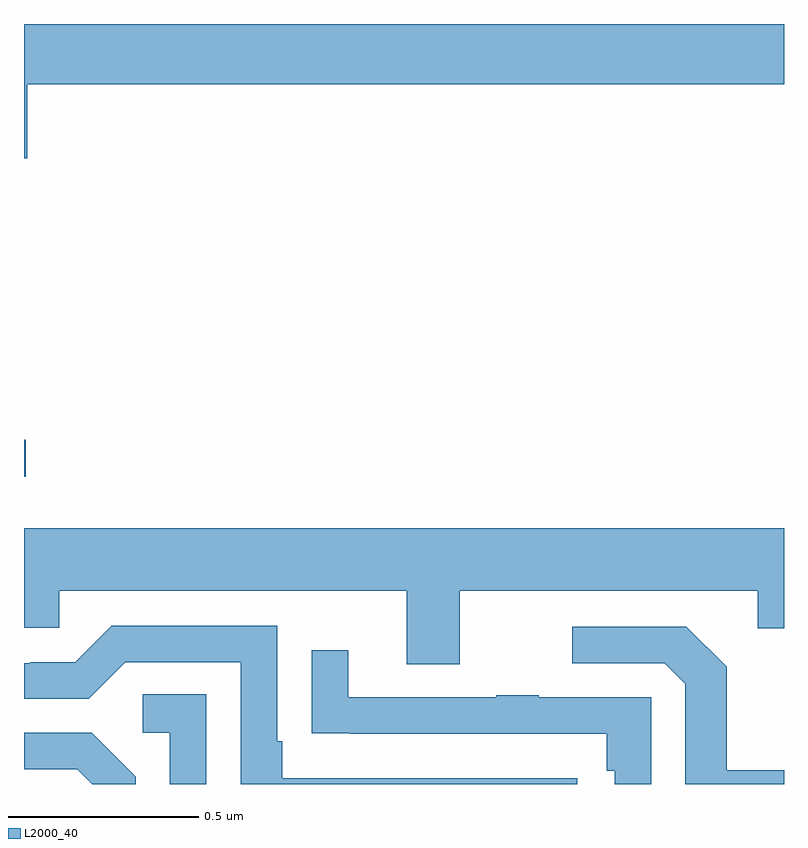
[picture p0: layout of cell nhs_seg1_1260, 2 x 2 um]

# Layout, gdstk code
import gdstk
lib = gdstk.Library(unit=1e-6, precision=1e-09)
def R(c, l, rs):  # rectangles x0, y0, x1, y1
    for r in rs: c.add(gdstk.rectangle(r[:2], r[2:], *l))
def P(c, l, *ps):  # polygons
    for p in ps: c.add(gdstk.Polygon(p, *l))
L2000_40 = (2000, 40)

nhs_seg1_1260 = lib.new_cell('nhs_seg1_1260')
R(nhs_seg1_1260, L2000_40, [(126,576.008,126.004,576.105)])
P(nhs_seg1_1260, L2000_40, [(126.008,577.04),(128,577.04),(128,577.199),(126,577.199),(126,576.846),(126.008,576.846)],
  [(127.147,575.708),(127.931,575.708),(127.931,575.609),(128,575.609),(128,575.872),(126,575.872),(126,575.61),(126.093,575.61),(126.093,575.708),(127.007,575.708),(127.007,575.514),(127.147,575.514)],
  [(127.456,575.214),(126.679,575.214),(126.679,575.311),(126.666,575.311),(126.666,575.616),(126.231,575.616),(126.135,575.52),(126.017,575.52),(126.017,575.517),(126,575.517),(126,575.424),(126.171,575.424),(126.267,575.52),(126.57,575.52),(126.57,575.199),(127.456,575.199)],
  [(128,575.235),(127.849,575.235),(127.849,575.507),(127.743,575.613),(127.443,575.613),(127.443,575.517),(127.686,575.517),(127.74,575.463),(127.74,575.199),(128,575.199)],
  [(127.65,575.427),(127.355,575.427),(127.355,575.432),(127.243,575.432),(127.243,575.427),(126.853,575.427),(126.853,575.551),(126.757,575.551),(126.757,575.332),(126.859,575.332),(126.859,575.331),(127.534,575.331),(127.534,575.234),(127.554,575.234),(127.554,575.199),(127.65,575.199)],
  [(126.48,575.435),(126.312,575.435),(126.312,575.334),(126.384,575.334),(126.384,575.199),(126.48,575.199)],
  [(126.294,575.218),(126.178,575.334),(126,575.334),(126,575.238),(126.14,575.238),(126.179,575.199),(126.294,575.199)])

lib.write_gds('nhs_seg1_1260.gds')
